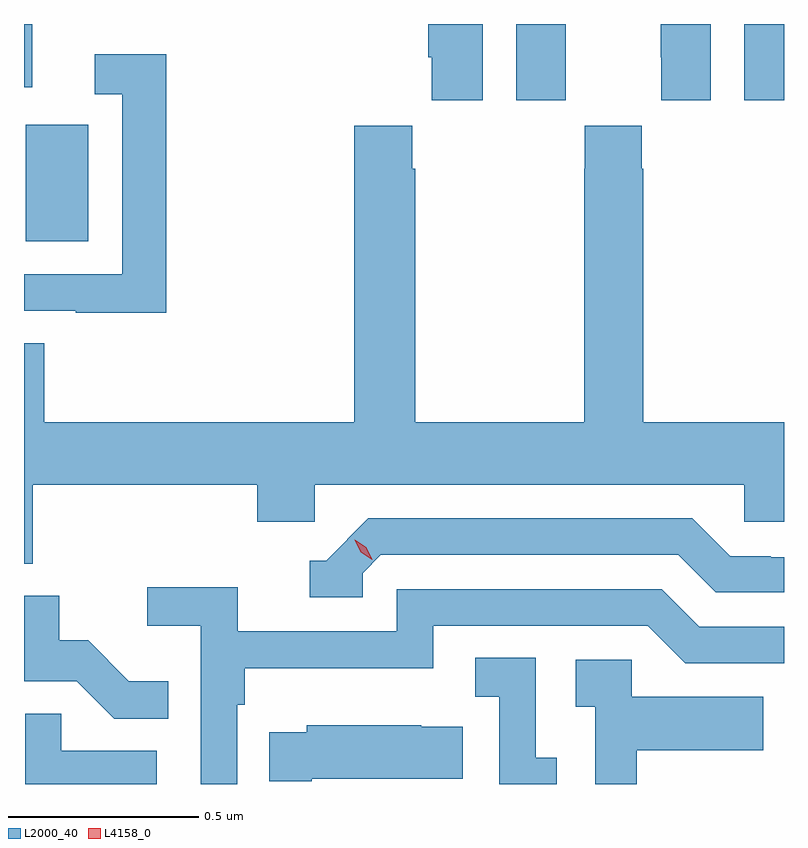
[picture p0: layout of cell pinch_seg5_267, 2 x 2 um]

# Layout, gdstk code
import gdstk
lib = gdstk.Library(unit=1e-6, precision=1e-09)
def R(c, l, rs):  # rectangles x0, y0, x1, y1
    for r in rs: c.add(gdstk.rectangle(r[:2], r[2:], *l))
def P(c, l, *ps):  # polygons
    for p in ps: c.add(gdstk.Polygon(p, *l))
L2000_40 = (2000, 40)
L4158_0 = (4158, 0)

pinch_seg5_267 = lib.new_cell('pinch_seg5_267')
R(pinch_seg5_267, L2000_40, [(897.074,904.02,897.238,904.327), (898.964,904.392,899.069,904.592), (897.069,904.426,897.091,904.592)])
P(pinch_seg5_267, L2000_40, [(898.276,904.592),(898.133,904.592),(898.133,904.504),(898.142,904.504),(898.142,904.392),(898.276,904.392)],
  [(898.494,904.504),(898.495,904.504),(898.495,904.592),(898.364,904.592),(898.364,904.392),(898.494,904.392)],
  [(898.876,904.592),(898.745,904.592),(898.745,904.504),(898.746,904.504),(898.746,904.392),(898.876,904.392)],
  [(897.443,904.513),(897.255,904.513),(897.255,904.407),(897.327,904.407),(897.327,903.933),(897.069,903.933),(897.069,903.837),(897.205,903.837),(897.205,903.832),(897.443,903.832)],
  [(897.092,903.38),(897.683,903.38),(897.683,903.282),(897.834,903.282),(897.834,903.38),(898.965,903.38),(898.965,903.282),(899.069,903.282),(899.069,903.544),(898.698,903.544),(898.698,904.211),(898.695,904.211),(898.695,904.324),(898.545,904.324),(898.545,904.211),(898.543,904.211),(898.543,903.544),(898.098,903.544),(898.098,904.211),(898.091,904.211),(898.091,904.324),(897.938,904.324),(897.938,903.544),(897.122,903.544),(897.122,903.752),(897.069,903.752),(897.069,903.172),(897.092,903.172)],
  [(897.96,903.147),(898.008,903.195),(898.791,903.195),(898.89,903.096),(899.069,903.096),(899.069,903.189),(899.034,903.189),(899.034,903.192),(898.927,903.192),(898.828,903.291),(897.975,903.291),(897.864,903.18),(897.821,903.18),(897.821,903.084),(897.96,903.084)],
  [(897.63,902.801),(897.65,902.801),(897.65,902.897),(898.146,902.897),(898.146,903.009),(898.71,903.009),(898.809,902.91),(899.069,902.91),(899.069,903.006),(898.846,903.006),(898.747,903.105),(898.05,903.105),(898.05,902.994),(897.632,902.994),(897.632,903.11),(897.393,903.11),(897.393,903.008),(897.534,903.008),(897.534,902.592),(897.63,902.592)],
  [(897.449,902.863),(897.345,902.863),(897.238,902.97),(897.162,902.97),(897.162,903.087),(897.069,903.087),(897.069,902.862),(897.208,902.862),(897.306,902.764),(897.449,902.764)],
  [(898.471,902.661),(898.416,902.661),(898.416,902.924),(898.257,902.924),(898.257,902.821),(898.32,902.821),(898.32,902.592),(898.471,902.592)],
  [(898.681,902.681),(899.015,902.681),(899.015,902.821),(898.668,902.821),(898.668,902.919),(898.521,902.919),(898.521,902.795),(898.572,902.795),(898.572,902.592),(898.681,902.592)],
  [(897.418,902.679),(897.167,902.679),(897.167,902.777),(897.072,902.777),(897.072,902.592),(897.418,902.592)],
  [(897.826,902.606),(898.223,902.606),(898.223,902.743),(898.115,902.743),(898.115,902.746),(897.813,902.746),(897.813,902.728),(897.715,902.728),(897.715,902.599),(897.826,902.599)])
P(pinch_seg5_267, L4158_0, [(897.985,903.182),(897.955,903.202),(897.939,903.235),(897.939,903.235),(897.939,903.235),(897.97,903.215),(897.986,903.183),(897.986,903.182)])

lib.write_gds('pinch_seg5_267.gds')
